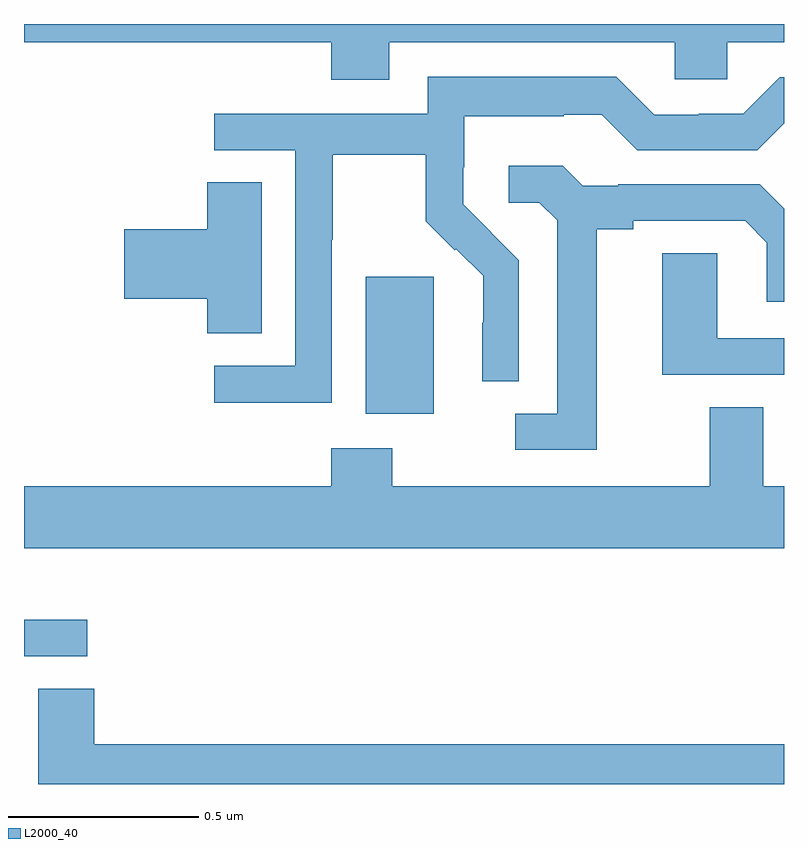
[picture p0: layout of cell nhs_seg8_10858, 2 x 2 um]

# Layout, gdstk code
import gdstk
lib = gdstk.Library(unit=1e-6, precision=1e-09)
def R(c, l, rs):  # rectangles x0, y0, x1, y1
    for r in rs: c.add(gdstk.rectangle(r[:2], r[2:], *l))
def P(c, l, *ps):  # polygons
    for p in ps: c.add(gdstk.Polygon(p, *l))
L2000_40 = (2000, 40)

nhs_seg8_10858 = lib.new_cell('nhs_seg8_10858')
R(nhs_seg8_10858, L2000_40, [(255,1096.236,255.166,1096.332), (255.899,1096.874,256.078,1097.235)])
P(nhs_seg8_10858, L2000_40, [(255.961,1097.852),(256.713,1097.852),(256.713,1097.754),(256.851,1097.754),(256.851,1097.852),(257,1097.852),(257,1097.9),(255,1097.9),(255,1097.852),(255.809,1097.852),(255.809,1097.753),(255.961,1097.753)],
  [(255.81,1097.332),(255.813,1097.332),(255.813,1097.556),(256.057,1097.556),(256.057,1097.381),(256.134,1097.304),(256.137,1097.307),(256.208,1097.237),(256.208,1097.114),(256.206,1097.114),(256.206,1096.96),(256.302,1096.96),(256.302,1097.278),(256.229,1097.351),(256.23,1097.352),(256.156,1097.426),(256.156,1097.523),(256.158,1097.523),(256.158,1097.657),(256.421,1097.657),(256.421,1097.661),(256.521,1097.661),(256.614,1097.568),(256.929,1097.568),(257,1097.639),(257,1097.76),(256.989,1097.76),(256.893,1097.664),(256.775,1097.664),(256.775,1097.661),(256.659,1097.661),(256.559,1097.761),(256.062,1097.761),(256.062,1097.664),(255.501,1097.664),(255.501,1097.568),(255.714,1097.568),(255.714,1097.001),(255.501,1097.001),(255.501,1096.903),(255.81,1096.903)],
  [(256.507,1097.36),(256.603,1097.36),(256.603,1097.382),(256.898,1097.382),(256.955,1097.325),(256.955,1097.169),(257,1097.169),(257,1097.414),(256.936,1097.478),(256.564,1097.478),(256.564,1097.475),(256.47,1097.475),(256.418,1097.527),(256.275,1097.527),(256.275,1097.43),(256.356,1097.43),(256.403,1097.383),(256.403,1096.875),(256.293,1096.875),(256.293,1096.779),(256.507,1096.779)],
  [(255.625,1097.483),(255.482,1097.483),(255.482,1097.36),(255.264,1097.36),(255.264,1097.177),(255.482,1097.177),(255.482,1097.086),(255.625,1097.086)],
  [(257,1097.073),(256.824,1097.073),(256.824,1097.297),(256.679,1097.297),(256.679,1096.977),(257,1096.977)],
  [(257,1096.684),(256.945,1096.684),(256.945,1096.892),(256.805,1096.892),(256.805,1096.684),(255.969,1096.684),(255.969,1096.783),(255.809,1096.783),(255.809,1096.684),(255,1096.684),(255,1096.52),(257,1096.52)],
  [(257,1096.004),(255.185,1096.004),(255.185,1096.151),(255.038,1096.151),(255.038,1095.9),(257,1095.9)])

lib.write_gds('nhs_seg8_10858.gds')
